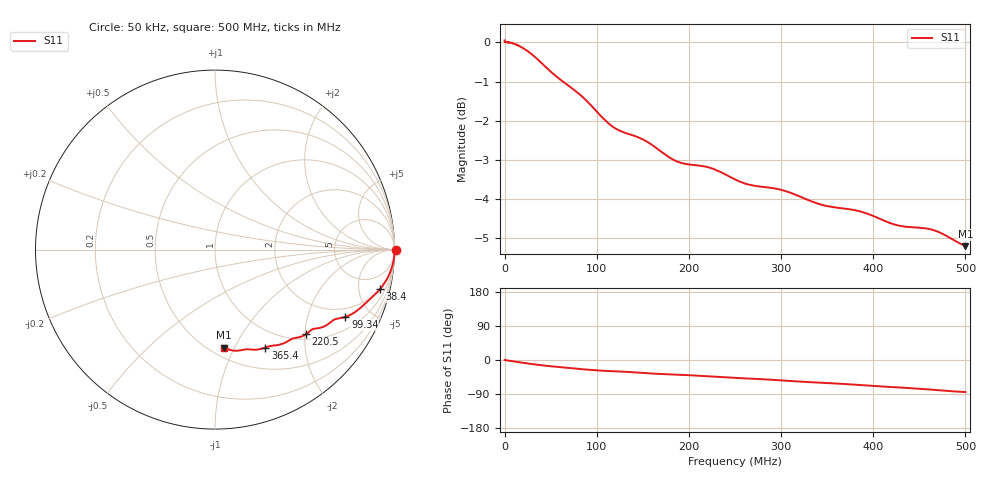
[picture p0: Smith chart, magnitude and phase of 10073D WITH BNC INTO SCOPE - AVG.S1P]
!Keysight Technologies,E5063A,MY54100949,A.07.30
!Date: Thu Dec 25 21:20:08 2025
!Data & Calibration Information:
!Freq	S11:SOLT1(ON)
# Hz S RI R 50
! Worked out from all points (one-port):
!   10001 points, 50 kHz to 500 MHz, reference 50 ohm
!   lowest |S11| = -5.2 dB at 500 MHz (marker M1), VSWR 3.43, Z = 29.2 - j45.6 ohm
!   |S11| at or under -10 dB: nowhere
!   S11 on the Smith chart (normalised r, x): 50 kHz: open; 38.4 MHz: 1.93, -8.01; 99.34 MHz: 1.54, -3.48; 220.5 MHz: 1.12, -2.02; 365.4 MHz: 0.76, -1.34; 500 MHz: 0.58, -0.91
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50000  1.006 0.000381
9649040  0.9948 -0.0633
1.784822e7  0.9803 -0.1149
2.869714e7  0.9514 -0.1756
3.839616e7  0.9194 -0.2202
4.854515e7  0.8845 -0.2564
6.254375e7  0.8419 -0.2959
8.439156e7  0.7764 -0.3509
9.934007e7  0.7263 -0.375
1.119888e8  0.6899 -0.3831
1.250375e8  0.665 -0.3899
1.437856e8  0.6352 -0.4119
1.610339e8  0.5977 -0.4324
1.753325e8  0.5667 -0.4393
1.875312e8  0.5479 -0.4418
2.011299e8  0.533 -0.45
2.20528e8  0.5066 -0.4719
2.50025e8  0.4522 -0.4914
2.874713e8  0.4031 -0.5121
3.125188e8  0.3601 -0.5296
3.337666e8  0.3241 -0.5349
3.654135e8  0.2801 -0.5457
3.750125e8  0.2649 -0.5509
4.09509e8  0.2027 -0.5572
4.375062e8  0.163 -0.557
4.681032e8  0.1075 -0.5634
4.854515e8  0.0733 -0.5553
5e8  0.0517 -0.546
